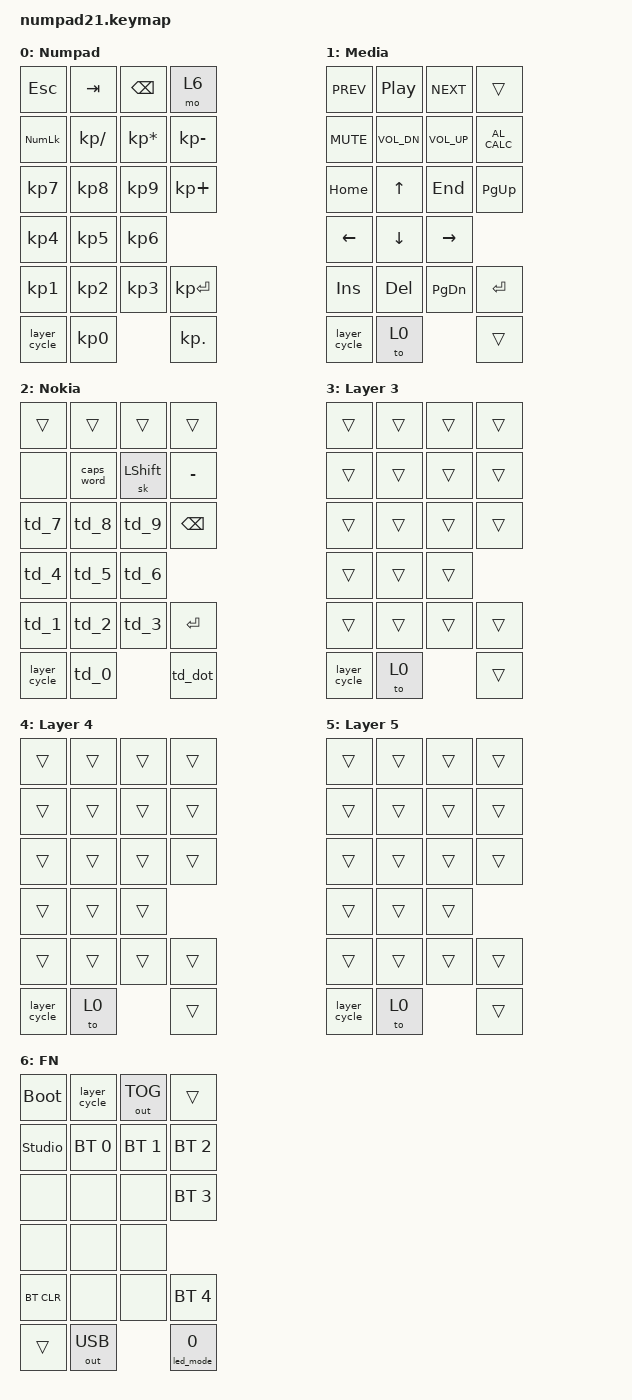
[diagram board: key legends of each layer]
#include <behaviors.dtsi>
#include <dt-bindings/zmk/keys.h>
#include <dt-bindings/zmk/bt.h>
#include <dt-bindings/zmk/outputs.h>

/*
 * 7 layer: 0 Numpad, 1 Media, 2 Nokia (nhap chu kieu Nokia cu: 1=1abc, 2=2def, 3=3ghi, 4=4jkl,
 *   5=5mno, 6=6pqr, 7=7stu, 8=8vwx, 9=9yz, 0=0+space, '.'=. , ? !; * = Shift, / = Caps Word,
 *   + = Backspace), 3-5 trong (gan bang ZMK Studio), 6 FN.
 * FN o tren cung (index 6) nen luon de len cac layer khac: giu FN thi cac phim FN luon hoat dong.
 *
 * Thu tu 21 phim trong moi layer (tren xuong, trai sang phai):
 *   ESC  TAB  BSPC FN
 *   NUM  /    *    -
 *   7    8    9
 *   4    5    6    +
 *   1    2    3    ENTER
 *   0    .
 *
 * FN layer (layer 6, giu phim FN):
 *   Hang tren : bootloader | chuyen layer (Numpad>Media>Nokia>L3>L4>L5) | doi USB/BLE | -
 *   Hang 2    : Studio unlock | BT0 | BT1 | BT2
 *   '.'       : chuyen che do LED ke tiep (1..9, vong lai)
 *   +  = BT3,  ENTER = BT4,  0 = ep dung USB,  1 = xoa ghep doi BT
 */

/ {
    /* Nhap chu kieu Nokia: bam lien tiep CUNG phim trong 0.6s de doi ky tu; ky tu hien ngay (gui Backspace + ky tu moi) */
    behaviors {
        td_1: td_1 {
            compatible = "zmk,behavior-multitap";
            #binding-cells = <0>;
            tapping-term-ms = <600>;
            keys = <N1 A B C>;
        };
        td_2: td_2 {
            compatible = "zmk,behavior-multitap";
            #binding-cells = <0>;
            tapping-term-ms = <600>;
            keys = <N2 D E F>;
        };
        td_3: td_3 {
            compatible = "zmk,behavior-multitap";
            #binding-cells = <0>;
            tapping-term-ms = <600>;
            keys = <N3 G H I>;
        };
        td_4: td_4 {
            compatible = "zmk,behavior-multitap";
            #binding-cells = <0>;
            tapping-term-ms = <600>;
            keys = <N4 J K L>;
        };
        td_5: td_5 {
            compatible = "zmk,behavior-multitap";
            #binding-cells = <0>;
            tapping-term-ms = <600>;
            keys = <N5 M N O>;
        };
        td_6: td_6 {
            compatible = "zmk,behavior-multitap";
            #binding-cells = <0>;
            tapping-term-ms = <600>;
            keys = <N6 P Q R>;
        };
        td_7: td_7 {
            compatible = "zmk,behavior-multitap";
            #binding-cells = <0>;
            tapping-term-ms = <600>;
            keys = <N7 S T U>;
        };
        td_8: td_8 {
            compatible = "zmk,behavior-multitap";
            #binding-cells = <0>;
            tapping-term-ms = <600>;
            keys = <N8 V W X>;
        };
        td_9: td_9 {
            compatible = "zmk,behavior-multitap";
            #binding-cells = <0>;
            tapping-term-ms = <600>;
            keys = <N9 Y Z>;
        };
        td_0: td_0 {
            compatible = "zmk,behavior-multitap";
            #binding-cells = <0>;
            tapping-term-ms = <600>;
            keys = <N0 SPACE>;
        };
        td_dot: td_dot {
            compatible = "zmk,behavior-multitap";
            #binding-cells = <0>;
            tapping-term-ms = <600>;
            keys = <DOT COMMA QMARK EXCL>;
        };
    };

    keymap {
        compatible = "zmk,keymap";

        default_layer {
            display-name = "Numpad";
            bindings = <
                &kp ESC    &kp TAB    &kp BSPC   &mo 6
                &kp KP_NUMLOCK &kp KP_SLASH &kp KP_MULTIPLY &kp KP_MINUS
                &kp KP_N7  &kp KP_N8  &kp KP_N9
                &kp KP_N4  &kp KP_N5  &kp KP_N6  &kp KP_PLUS
                &kp KP_N1  &kp KP_N2  &kp KP_N3  &kp KP_ENTER
                &kp KP_N0  &kp KP_DOT &layer_cycle
            >;
        };

        media_layer {
            display-name = "Media";
            bindings = <
                &kp C_PREV  &kp C_PP      &kp C_NEXT   &trans
                &kp C_MUTE  &kp C_VOL_DN  &kp C_VOL_UP &kp C_AL_CALC
                &kp HOME    &kp UP        &kp END
                &kp LEFT    &kp DOWN      &kp RIGHT    &kp PG_UP
                &kp INS     &kp DEL       &kp PG_DN    &kp RET
                &to 0       &trans &layer_cycle
            >;
        };

        nokia_layer {
            display-name = "Nokia";
            bindings = <
                &trans         &trans         &trans         &trans
                &none          &caps_word     &sk LSHFT      &kp MINUS
                &td_7          &td_8          &td_9
                &td_4          &td_5          &td_6          &kp BSPC
                &td_1          &td_2          &td_3          &kp RET
                &td_0          &td_dot        &layer_cycle
            >;
        };

        layer_3 {
            display-name = "Layer 3";
            bindings = <
                &trans  &trans  &trans  &trans
                &trans  &trans  &trans  &trans
                &trans  &trans  &trans
                &trans  &trans  &trans  &trans
                &trans  &trans  &trans  &trans
                &to 0   &trans &layer_cycle
            >;
        };

        layer_4 {
            display-name = "Layer 4";
            bindings = <
                &trans  &trans  &trans  &trans
                &trans  &trans  &trans  &trans
                &trans  &trans  &trans
                &trans  &trans  &trans  &trans
                &trans  &trans  &trans  &trans
                &to 0   &trans &layer_cycle
            >;
        };

        layer_5 {
            display-name = "Layer 5";
            bindings = <
                &trans  &trans  &trans  &trans
                &trans  &trans  &trans  &trans
                &trans  &trans  &trans
                &trans  &trans  &trans  &trans
                &trans  &trans  &trans  &trans
                &to 0   &trans &layer_cycle
            >;
        };

        fn_layer {
            display-name = "FN";
            bindings = <
                &bootloader    &layer_cycle   &out OUT_TOG   &trans
                &studio_unlock &bt BT_SEL 0   &bt BT_SEL 1   &bt BT_SEL 2
                &none          &none          &none
                &none          &none          &none          &bt BT_SEL 3
                &bt BT_CLR     &none          &none          &bt BT_SEL 4
                &out OUT_USB   &led_mode 0 &trans
            >;
        };
    };
};
